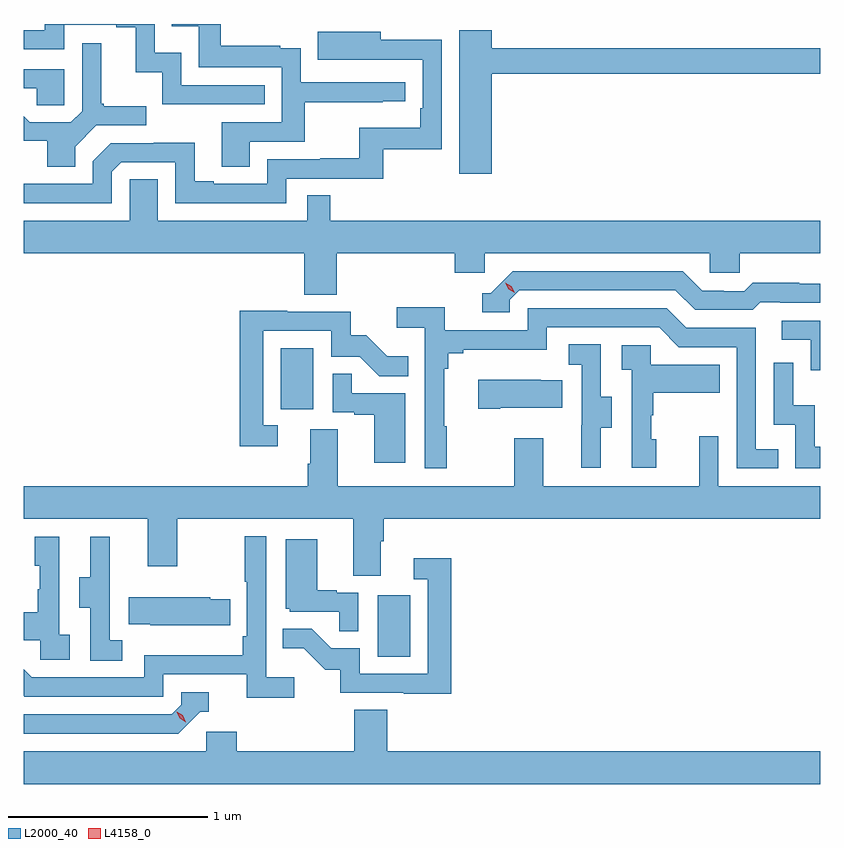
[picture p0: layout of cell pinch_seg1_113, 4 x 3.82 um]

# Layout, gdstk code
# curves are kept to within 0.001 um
import gdstk
lib = gdstk.Library(unit=1e-6, precision=1e-09)
def R(c, l, rs):  # rectangles x0, y0, x1, y1
    for r in rs: c.add(gdstk.rectangle(r[:2], r[2:], *l))
def P(c, l, *ps):  # polygons
    for p in ps: c.add(gdstk.Polygon(p, *l))
L2000_40 = (2000, 40)
L4158_0 = (4158, 0)

pinch_seg1_113 = lib.new_cell('pinch_seg1_113')
R(pinch_seg1_113, L2000_40, [(1068.236,560.364,1068.4,560.671), (1067.75,561.606,1067.914,561.913)])
P(pinch_seg1_113, L2000_40, [(1067.593,562.95),(1067.87,562.95),(1067.87,563.146),(1068.263,563.146),(1068.263,563.151),(1068.376,563.151),(1068.376,563.247),(1067.85,563.247),(1067.85,563.419),(1067.747,563.419),(1067.747,563.431),(1067.449,563.431),(1067.449,563.54),(1067.203,563.54),(1067.203,563.528),(1067.338,563.528),(1067.338,563.322),(1067.754,563.322),(1067.754,563.046),(1067.453,563.046),(1067.453,562.822),(1067.593,562.822)],
  [(1067.669,563.232),(1067.25,563.232),(1067.25,563.395),(1067.118,563.395),(1067.118,563.54),(1066.566,563.54),(1066.566,563.508),(1066.459,563.508),(1066.459,563.412),(1066.662,563.412),(1066.662,563.535),(1066.925,563.535),(1066.925,563.523),(1067.021,563.523),(1067.021,563.297),(1067.154,563.297),(1067.154,563.136),(1067.669,563.136)],
  [(1068.808,563.29),(1070.459,563.29),(1070.459,563.419),(1068.808,563.419),(1068.808,563.509),(1068.647,563.509),(1068.647,562.788),(1068.808,562.788)],
  [(1066.902,562.797),(1066.95,562.845),(1067.22,562.845),(1067.22,562.641),(1067.778,562.641),(1067.778,562.764),(1068.265,562.764),(1068.265,562.911),(1068.558,562.911),(1068.558,563.462),(1068.253,563.462),(1068.253,563.5),(1067.935,563.5),(1067.935,563.36),(1068.462,563.361),(1068.462,563.116),(1068.449,563.116),(1068.449,563.02),(1068.144,563.02),(1068.144,562.865),(1067.947,562.865),(1067.947,562.86),(1067.682,562.86),(1067.682,562.737),(1067.413,562.737),(1067.413,562.75),(1067.317,562.75),(1067.317,562.943),(1067.112,562.943),(1067.112,562.941),(1066.896,562.941),(1066.806,562.851),(1066.806,562.737),(1066.459,562.737),(1066.459,562.641),(1066.902,562.641)],
  [(1066.717,562.924),(1066.824,563.031),(1067.074,563.031),(1067.074,563.128),(1066.861,563.128),(1066.861,563.14),(1066.849,563.14),(1066.849,563.443),(1066.752,563.443),(1066.752,563.103),(1066.695,563.046),(1066.489,563.046),(1066.459,563.076),(1066.459,562.954),(1066.577,562.954),(1066.577,562.822),(1066.717,562.822)],
  [(1066.662,563.313),(1066.459,563.313),(1066.459,563.217),(1066.525,563.217),(1066.525,563.133),(1066.662,563.133)],
  [(1068.032,562.388),(1068.623,562.388),(1068.623,562.29),(1068.774,562.29),(1068.774,562.388),(1069.905,562.388),(1069.905,562.29),(1070.055,562.29),(1070.055,562.388),(1070.459,562.388),(1070.459,562.552),(1067.999,562.552),(1067.999,562.679),(1067.883,562.679),(1067.883,562.552),(1067.131,562.552),(1067.131,562.76),(1066.992,562.76),(1066.992,562.552),(1066.459,562.552),(1066.459,562.388),(1067.867,562.388),(1067.867,562.18),(1068.032,562.18)],
  [(1068.9,562.155),(1068.948,562.203),(1069.731,562.203),(1069.83,562.104),(1070.119,562.104),(1070.158,562.143),(1070.257,562.143),(1070.257,562.14),(1070.459,562.14),(1070.459,562.237),(1070.352,562.237),(1070.352,562.24),(1070.119,562.24),(1070.077,562.197),(1069.974,562.197),(1069.974,562.2),(1069.867,562.2),(1069.768,562.299),(1068.915,562.299),(1068.804,562.188),(1068.761,562.188),(1068.761,562.092),(1068.9,562.092)],
  [(1068.583,561.521),(1068.571,561.521),(1068.571,561.809),(1068.59,561.809),(1068.59,561.886),(1068.667,561.886),(1068.667,561.905),(1069.086,561.905),(1069.086,562.017),(1069.65,562.017),(1069.749,561.918),(1070.04,561.918),(1070.04,561.309),(1070.249,561.309),(1070.249,561.405),(1070.136,561.405),(1070.136,562.014),(1069.786,562.014),(1069.687,562.113),(1068.99,562.113),(1068.99,562.002),(1068.572,562.002),(1068.572,562.118),(1068.333,562.118),(1068.333,562.016),(1068.474,562.016),(1068.474,561.309),(1068.583,561.309)],
  [(1067.734,561.525),(1067.661,561.525),(1067.661,561.999),(1068.003,561.999),(1068.003,561.87),(1068.147,561.87),(1068.245,561.772),(1068.389,561.772),(1068.389,561.871),(1068.285,561.871),(1068.178,561.978),(1068.102,561.978),(1068.102,562.095),(1067.783,562.095),(1067.783,562.1),(1067.545,562.1),(1067.545,561.42),(1067.734,561.42)],
  [(1070.459,562.05),(1070.265,562.05),(1070.265,561.954),(1070.412,561.954),(1070.412,561.801),(1070.459,561.801)],
  [(1069.357,561.514),(1069.411,561.514),(1069.411,561.669),(1069.356,561.669),(1069.356,561.932),(1069.197,561.932),(1069.197,561.829),(1069.26,561.829),(1069.26,561.525),(1069.259,561.525),(1069.259,561.312),(1069.357,561.312)],
  [(1069.636,561.456),(1069.611,561.456),(1069.611,561.575),(1069.621,561.575),(1069.621,561.689),(1069.955,561.689),(1069.955,561.829),(1069.608,561.829),(1069.608,561.927),(1069.461,561.927),(1069.461,561.803),(1069.512,561.803),(1069.512,561.312),(1069.636,561.312)],
  [(1070.459,561.418),(1070.432,561.418),(1070.432,561.626),(1070.322,561.626),(1070.322,561.838),(1070.226,561.838),(1070.226,561.528),(1070.334,561.528),(1070.334,561.309),(1070.459,561.309)],
  [(1068.376,561.687),(1068.107,561.687),(1068.107,561.785),(1068.012,561.785),(1068.012,561.591),(1068.119,561.591),(1068.119,561.579),(1068.218,561.579),(1068.218,561.336),(1068.376,561.336)],
  [(1068.853,561.614),(1069.163,561.614),(1069.163,561.751),(1069.055,561.751),(1069.055,561.754),(1068.741,561.754),(1068.741,561.607),(1068.853,561.607)],
  [(1068.253,560.944),(1068.266,560.944),(1068.266,561.056),(1070.459,561.056),(1070.459,561.22),(1069.947,561.22),(1069.947,561.469),(1069.85,561.469),(1069.85,561.22),(1069.069,561.22),(1069.069,561.46),(1068.922,561.46),(1068.922,561.22),(1068.037,561.22),(1068.037,561.506),(1067.897,561.506),(1067.897,561.332),(1067.885,561.332),(1067.885,561.22),(1066.459,561.22),(1066.459,561.056),(1067.081,561.056),(1067.081,560.817),(1067.229,560.817),(1067.229,561.056),(1068.113,561.056),(1068.113,560.77),(1068.253,560.77)],
  [(1067.818,560.26),(1067.676,560.26),(1067.676,560.968),(1067.568,560.968),(1067.568,560.74),(1067.58,560.74),(1067.58,560.467),(1067.56,560.467),(1067.56,560.371),(1067.064,560.371),(1067.064,560.259),(1066.5,560.259),(1066.459,560.3),(1066.459,560.167),(1066.463,560.163),(1067.16,560.163),(1067.16,560.274),(1067.579,560.274),(1067.579,560.158),(1067.818,560.158)],
  [(1066.954,560.447),(1066.89,560.447),(1066.89,560.751),(1066.892,560.751),(1066.892,560.965),(1066.793,560.965),(1066.793,560.763),(1066.739,560.763),(1066.739,560.608),(1066.794,560.608),(1066.794,560.344),(1066.954,560.344)],
  [(1066.69,560.474),(1066.638,560.474),(1066.638,560.965),(1066.514,560.965),(1066.514,560.82),(1066.54,560.82),(1066.54,560.702),(1066.53,560.702),(1066.53,560.587),(1066.459,560.587),(1066.459,560.447),(1066.542,560.447),(1066.542,560.349),(1066.69,560.349)],
  [(1068.138,560.685),(1068.032,560.685),(1068.032,560.698),(1067.932,560.698),(1067.932,560.953),(1067.774,560.953),(1067.774,560.604),(1067.796,560.604),(1067.796,560.589),(1068.043,560.589),(1068.043,560.491),(1068.138,560.491)],
  [(1068.605,560.857),(1068.417,560.857),(1068.417,560.751),(1068.489,560.751),(1068.489,560.277),(1068.147,560.277),(1068.147,560.406),(1068.003,560.406),(1067.905,560.504),(1067.761,560.504),(1067.761,560.405),(1067.865,560.405),(1067.972,560.298),(1068.049,560.298),(1068.049,560.181),(1068.367,560.181),(1068.367,560.176),(1068.605,560.176)],
  [(1067.495,560.652),(1067.397,560.652),(1067.397,560.662),(1066.987,560.662),(1066.987,560.525),(1067.095,560.525),(1067.095,560.522),(1067.495,560.522)],
  [(1067.346,560.088),(1067.389,560.088),(1067.389,560.184),(1067.25,560.184),(1067.25,560.121),(1067.202,560.073),(1066.459,560.073),(1066.459,559.977),(1067.235,559.977)],
  [(1070.459,559.888),(1068.284,559.888),(1068.284,560.096),(1068.119,560.096),(1068.119,559.888),(1067.528,559.888),(1067.528,559.986),(1067.376,559.986),(1067.376,559.888),(1066.459,559.888),(1066.459,559.724),(1070.459,559.724)])
P(pinch_seg1_113, L4158_0, [(1068.925,562.19),(1068.894,562.209),(1068.877,562.241),(1068.877,562.241),(1068.877,562.241),(1068.908,562.222),(1068.925,562.19),(1068.925,562.19)],
  [(1067.272,560.035),(1067.242,560.055),(1067.227,560.087),(1067.227,560.088),(1067.227,560.088),(1067.257,560.068),(1067.273,560.035),(1067.273,560.035)])

lib.write_gds('pinch_seg1_113.gds')
